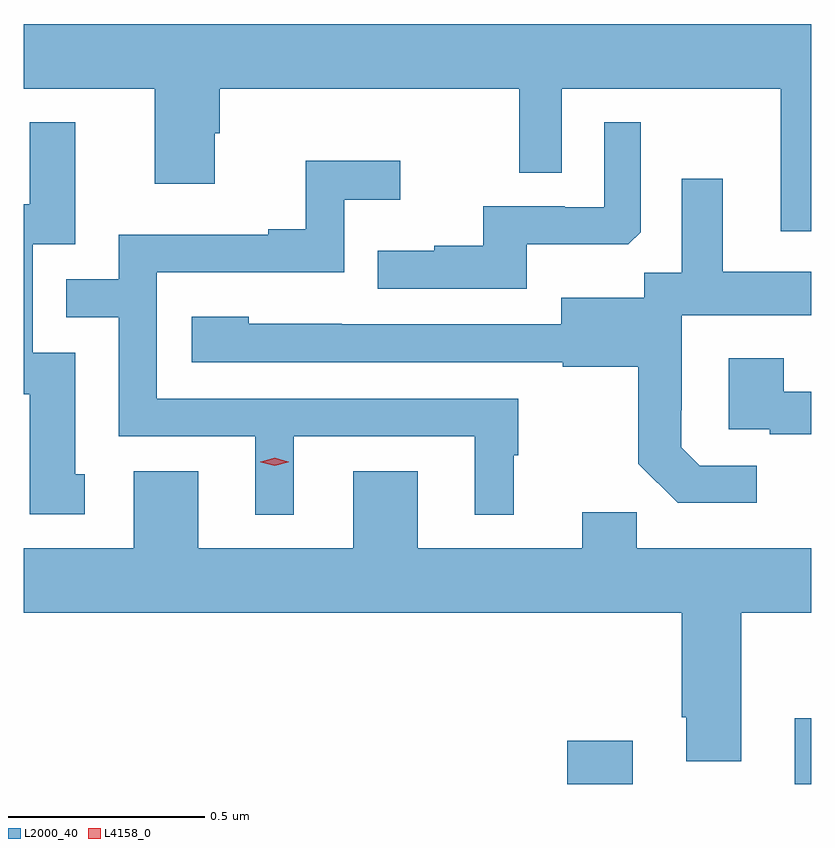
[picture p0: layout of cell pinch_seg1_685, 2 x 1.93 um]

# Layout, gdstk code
import gdstk
lib = gdstk.Library(unit=1e-6, precision=1e-09)
def R(c, l, rs):  # rectangles x0, y0, x1, y1
    for r in rs: c.add(gdstk.rectangle(r[:2], r[2:], *l))
def P(c, l, *ps):  # polygons
    for p in ps: c.add(gdstk.Polygon(p, *l))
L2000_40 = (2000, 40)
L4158_0 = (4158, 0)

pinch_seg1_685 = lib.new_cell('pinch_seg1_685')
R(pinch_seg1_685, L2000_40, [(850.442,575.273,850.609,575.383), (851.021,575.273,851.062,575.44)])
P(pinch_seg1_685, L2000_40, [(851.062,577.204),(849.062,577.204),(849.062,577.04),(849.395,577.04),(849.395,576.798),(849.547,576.798),(849.547,576.927),(849.56,576.927),(849.56,577.04),(850.32,577.04),(850.32,576.826),(850.428,576.826),(850.428,577.04),(850.985,577.04),(850.985,576.678),(851.062,576.678)],
  [(850.339,576.644),(850.597,576.644),(850.629,576.675),(850.629,576.955),(850.536,576.955),(850.536,576.738),(850.436,576.738),(850.436,576.741),(850.229,576.741),(850.229,576.64),(850.105,576.64),(850.105,576.628),(849.961,576.628),(849.961,576.531),(850.339,576.531)],
  [(849.217,576.06),(849.193,576.06),(849.193,576.369),(849.084,576.369),(849.084,576.645),(849.193,576.645),(849.193,576.955),(849.077,576.955),(849.077,576.746),(849.062,576.746),(849.062,576.263),(849.077,576.263),(849.077,575.958),(849.217,575.958)],
  [(849.748,576.156),(850.208,576.156),(850.208,575.957),(850.306,575.957),(850.306,576.108),(850.318,576.108),(850.318,576.252),(849.399,576.252),(849.399,576.573),(849.876,576.573),(849.876,576.758),(850.018,576.758),(850.018,576.857),(849.778,576.857),(849.778,576.682),(849.683,576.682),(849.683,576.669),(849.303,576.669),(849.303,576.555),(849.169,576.555),(849.169,576.459),(849.303,576.459),(849.303,576.156),(849.65,576.156),(849.65,575.957),(849.748,575.957)],
  [(850.924,576.081),(850.779,576.081),(850.732,576.128),(850.732,576.223),(850.734,576.223),(850.734,576.464),(851.062,576.464),(851.062,576.574),(850.837,576.574),(850.837,576.811),(850.733,576.811),(850.733,576.572),(850.638,576.572),(850.638,576.508),(850.427,576.508),(850.427,576.441),(849.869,576.441),(849.869,576.442),(849.633,576.442),(849.633,576.46),(849.489,576.46),(849.489,576.345),(850.431,576.345),(850.431,576.333),(850.623,576.333),(850.623,576.087),(850.723,575.987),(850.924,575.987)],
  [(851.062,576.27),(850.993,576.27),(850.993,576.355),(850.853,576.355),(850.853,576.174),(850.957,576.174),(850.957,576.162),(851.062,576.162)],
  [(850.885,575.708),(851.062,575.708),(851.062,575.872),(850.619,575.872),(850.619,575.963),(850.481,575.963),(850.481,575.872),(850.063,575.872),(850.063,576.067),(849.899,576.067),(849.899,575.872),(849.505,575.872),(849.505,576.067),(849.341,576.067),(849.341,575.872),(849.062,575.872),(849.062,575.708),(850.733,575.708),(850.733,575.443),(850.745,575.443),(850.745,575.331),(850.885,575.331)])
P(pinch_seg1_685, L4158_0, [(849.699,576.082),(849.664,576.091),(849.663,576.092),(849.664,576.092),(849.699,576.102),(849.734,576.092),(849.735,576.092),(849.734,576.091)])

lib.write_gds('pinch_seg1_685.gds')
